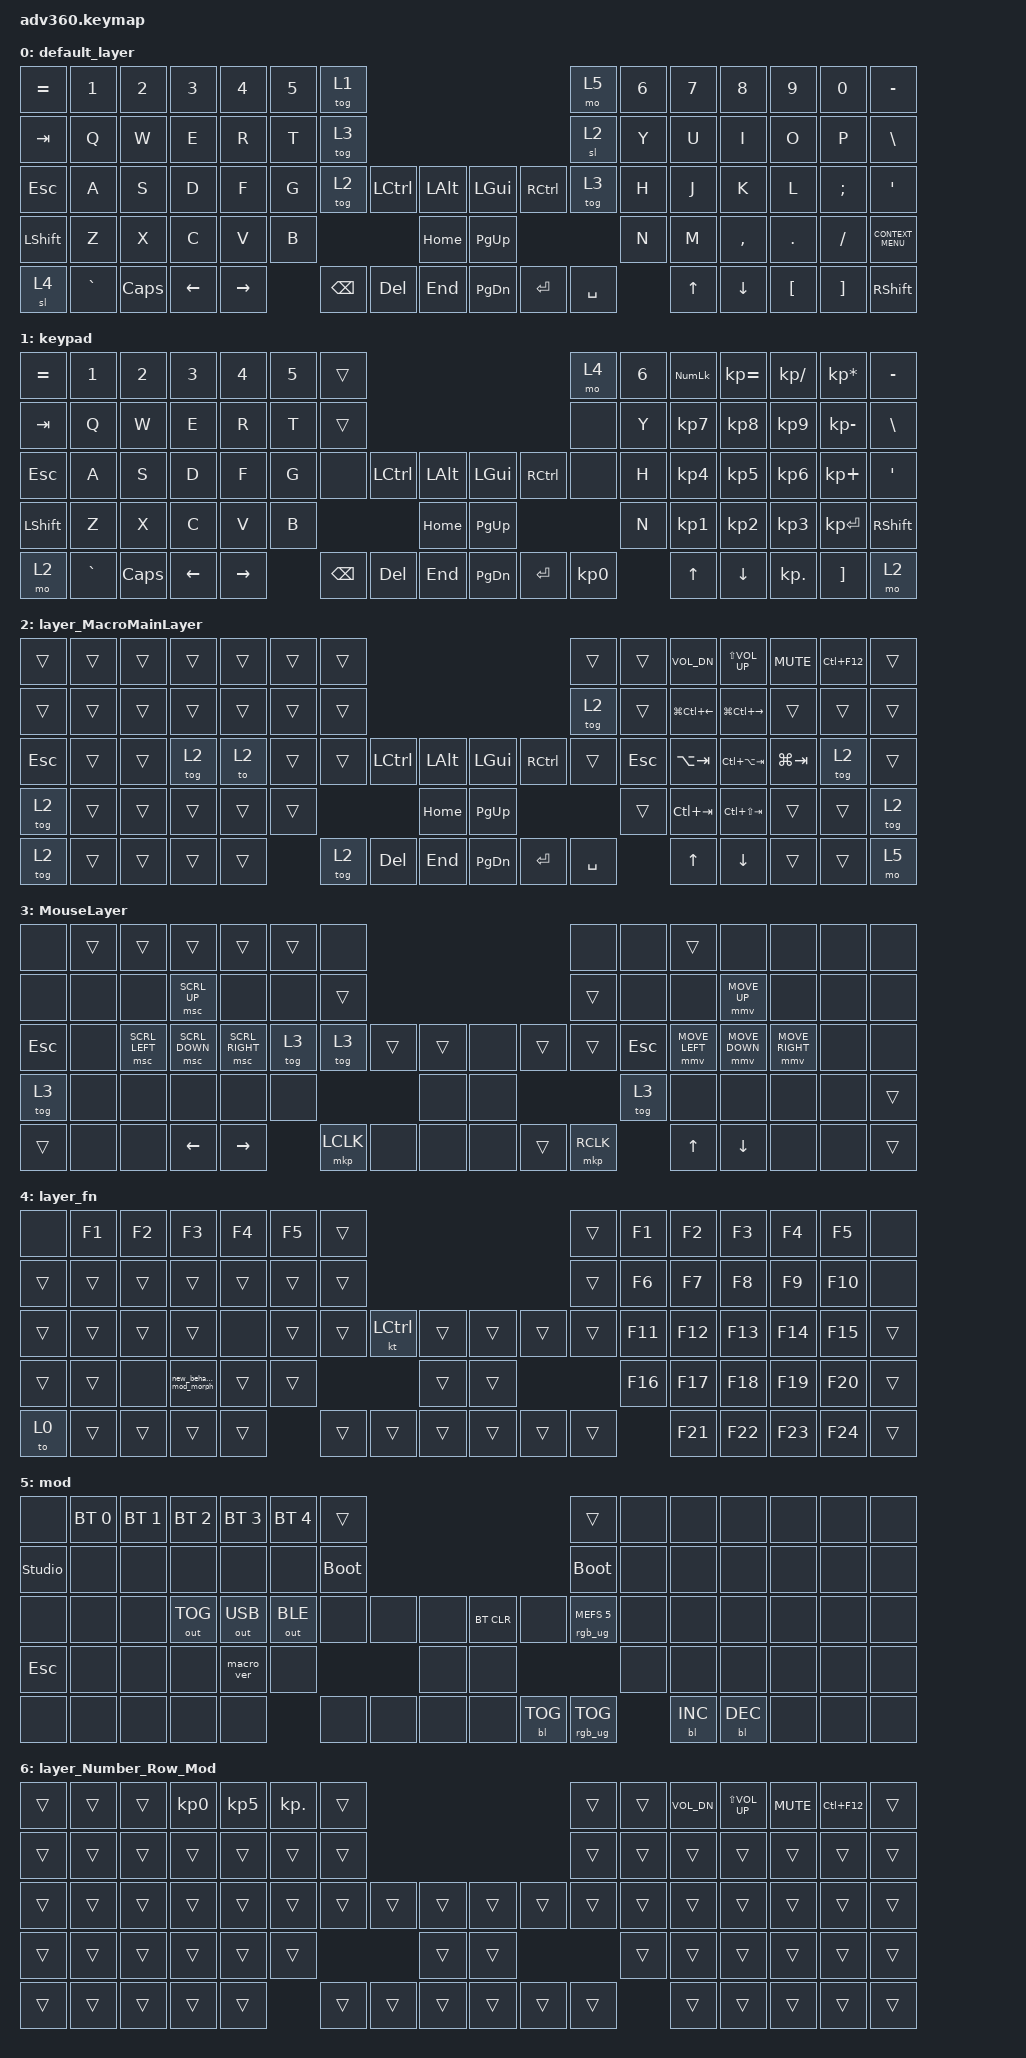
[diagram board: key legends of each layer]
#include <dt-bindings/zmk/stp.h>
#include <behaviors.dtsi>
#include <dt-bindings/zmk/backlight.h>
#include <dt-bindings/zmk/bt.h>
#include <dt-bindings/zmk/keys.h>
#include <dt-bindings/zmk/outputs.h>
#include <dt-bindings/zmk/pointing.h>
#include <dt-bindings/zmk/rgb.h>

/ {
    behaviors {
        #include "macros.dtsi"
      #include "version.dtsi"

        hm: homerow_mods {
            compatible = "zmk,behavior-hold-tap";
            label = "HOMEROW_MODS";
            #binding-cells = <2>;
            tapping-term-ms = <200>;
            quick_tap_ms = <175>;
            flavor = "tap-preferred";
            bindings = <&kp>, <&kp>;
        };

        new_behavior_mod_morph: new_behavior_mod_morph {
            compatible = "zmk,behavior-mod-morph";
            label = "NEW_BEHAVIOR_MOD_MORPH";
            bindings = <&trans>, <&new_macro>;

            #binding-cells = <0>;
            mods = <(MOD_RSFT)>;
        };

        Mo_Mor_trans_Layer2: Mo_Mor_trans_Layer2 {
            compatible = "zmk,behavior-mod-morph";
            label = "MO_MOR_TRANS_LAYER2";
            bindings = <&trans>, <&tog 1>;

            #binding-cells = <0>;
            mods = <(MOD_LSFT|MOD_RSFT)>;
        };

        Mo_Mor_bkspc_Layer2: Mo_Mor_bkspc_Layer2 {
            compatible = "zmk,behavior-mod-morph";
            label = "MO_MOR_BKSPC_LAYER2";
            bindings = <&kp BACKSPACE>, <&tog 1>;

            #binding-cells = <0>;
            mods = <(MOD_LSFT|MOD_RSFT)>;
        };
    };

    combos {
        compatible = "zmk,combos";

        control__a_sw {
            bindings = <&tog 6>;
            key-positions = <2 3>;
            layers = <0 7 1 6>;
        };

        sd_toMacro {
            bindings = <&sl 2>;
            key-positions = <32 41>;
            layers = <0 2 7 4 1>;
            slow-release;
        };

        mouseTog_combo {
            bindings = <&tog 3>;
            key-positions = <55 50>;
            layers = <0 4 1 7 2>;
        };

        fnbk_spc {
            bindings = <&trans>;
            key-positions = <60 65>;
        };
    };

    macros {
        new_macro: new_macro {
            compatible = "zmk,behavior-macro";
            label = "NEW_MACRO";
            #binding-cells = <0>;
            bindings = <&kp LEFT_SHIFT &kp M &kp Y &kp SPACE &kp M &kp A &kp C &kp R &kp O &kp EXCL>;
        };

        new_macro4: new_macro4 {
            compatible = "zmk,behavior-macro-one-param";
            #binding-cells = <1>;
            bindings =
                <&macro_param_1to1>,
                <&macro_press>,
                <&kp MACRO_PLACEHOLDER>,
                <&macro_pause_for_release>,
                <&macro_param_1to1>,
                <&macro_release>,
                <&kp MACRO_PLACEHOLDER>;

            label = "NEW_MACRO4";
        };
    };

    keymap {
        compatible = "zmk,keymap";

        default_layer {
            bindings = <
&kp EQUAL  &kp N1     &kp N2    &kp N3    &kp N4     &kp N5  &tog 1                                                        &mo 5      &kp N6  &kp N7  &kp N8     &kp N9    &kp N0    &kp MINUS
&kp TAB    &kp Q      &kp W     &kp E     &kp R      &kp T   &tog 3                                                        &sl 2      &kp Y   &kp U   &kp I      &kp O     &kp P     &kp BSLH
&kp ESC    &kp A      &kp S     &kp D     &kp F      &kp G   &tog 2         &kp LCTRL  &kp LALT      &kp LGUI   &kp RCTRL  &tog 3     &kp H   &kp J   &kp K      &kp L     &kp SEMI  &kp SQT
&kp LSHFT  &kp Z      &kp X     &kp C     &kp V      &kp B                             &kp HOME      &kp PG_UP                        &kp N   &kp M   &kp COMMA  &kp DOT   &kp FSLH  &kp K_CONTEXT_MENU
&sl 4      &kp GRAVE  &kp CAPS  &kp LEFT  &kp RIGHT          &kp BACKSPACE  &kp DEL    &kp END       &kp PG_DN  &kp ENTER  &kp SPACE          &kp UP  &kp DOWN   &kp LBKT  &kp RBKT  &kp RSHFT
            >;
        };

        keypad {
            bindings = <
&kp EQUAL  &kp N1     &kp N2    &kp N3    &kp N4     &kp N5  &trans                                                   &mo 4      &kp N6  &kp KP_NUM  &kp KP_EQUAL  &kp KP_DIVIDE  &kp KP_MULTIPLY  &kp MINUS
&kp TAB    &kp Q      &kp W     &kp E     &kp R      &kp T   &trans                                                   &none      &kp Y   &kp KP_N7   &kp KP_N8     &kp KP_N9      &kp KP_MINUS     &kp BSLH
&kp ESC    &kp A      &kp S     &kp D     &kp F      &kp G   &none     &kp LCTRL  &kp LALT      &kp LGUI   &kp RCTRL  &none      &kp H   &kp KP_N4   &kp KP_N5     &kp KP_N6      &kp KP_PLUS      &kp SQT
&kp LSHFT  &kp Z      &kp X     &kp C     &kp V      &kp B                        &kp HOME      &kp PG_UP                        &kp N   &kp KP_N1   &kp KP_N2     &kp KP_N3      &kp KP_ENTER     &kp RSHFT
&mo 2      &kp GRAVE  &kp CAPS  &kp LEFT  &kp RIGHT          &kp BSPC  &kp DEL    &kp END       &kp PG_DN  &kp ENTER  &kp KP_N0          &kp UP      &kp DOWN      &kp KP_DOT     &kp RBKT         &mo 2
            >;
        };

        layer_MacroMainLayer {
            bindings = <
&trans   &trans  &trans  &trans  &trans  &trans  &trans                                                 &trans     &trans   &kp C_VOL_DN      &kp LS(C_VOL_UP)   &kp C_MUTE   &kp LC(F12)  &trans
&trans   &trans  &trans  &trans  &trans  &trans  &trans                                                 &tog 2     &trans   &kp LG(LC(LEFT))  &kp LG(LC(RIGHT))  &trans       &trans       &trans
&kp ESC  &trans  &trans  &tog 2  &to 2   &trans  &trans  &kp LCTRL  &kp LALT      &kp LGUI   &kp RCTRL  &trans     &kp ESC  &kp LA(TAB)       &kp LC(LA(TAB))    &kp LG(TAB)  &tog 2       &trans
&tog 2   &trans  &trans  &trans  &trans  &trans                     &kp HOME      &kp PG_UP                        &trans   &kp LC(TAB)       &kp LC(LS(TAB))    &trans       &trans       &tog 2
&tog 2   &trans  &trans  &trans  &trans          &tog 2  &kp DEL    &kp END       &kp PG_DN  &kp ENTER  &kp SPACE           &kp UP            &kp DOWN           &trans       &trans       &mo 5
            >;
        };

        MouseLayer {
            bindings = <
&none    &trans  &trans          &trans          &trans           &trans  &none                                         &none      &none    &trans          &none           &none            &none  &none
&none    &none   &none           &msc SCRL_UP    &none            &none   &trans                                        &trans     &none    &none           &mmv MOVE_UP    &none            &none  &none
&kp ESC  &none   &msc SCRL_LEFT  &msc SCRL_DOWN  &msc SCRL_RIGHT  &tog 3  &tog 3     &trans  &trans      &none  &trans  &trans     &kp ESC  &mmv MOVE_LEFT  &mmv MOVE_DOWN  &mmv MOVE_RIGHT  &none  &none
&tog 3   &none   &none           &none           &none            &none                      &none       &none                     &tog 3   &none           &none           &none            &none  &trans
&trans   &none   &none           &kp LEFT        &kp RIGHT                &mkp LCLK  &none   &none       &none  &trans  &mkp RCLK           &kp UP          &kp DOWN        &none            &none  &trans
            >;
        };

        layer_fn {
            bindings = <
&none   &kp F1  &kp F2  &kp F3                   &kp F4  &kp F5  &trans                                         &trans  &kp F1   &kp F2   &kp F3   &kp F4   &kp F5   &none
&trans  &trans  &trans  &trans                   &trans  &trans  &trans                                         &trans  &kp F6   &kp F7   &kp F8   &kp F9   &kp F10  &none
&trans  &trans  &trans  &trans                   &none   &trans  &trans  &kt LCTRL  &trans      &trans  &trans  &trans  &kp F11  &kp F12  &kp F13  &kp F14  &kp F15  &trans
&trans  &trans  &none   &new_behavior_mod_morph  &trans  &trans                     &trans      &trans                  &kp F16  &kp F17  &kp F18  &kp F19  &kp F20  &trans
&to 0   &trans  &trans  &trans                   &trans          &trans  &trans     &trans      &trans  &trans  &trans           &kp F21  &kp F22  &kp F23  &kp F24  &trans
            >;
        };

        mod {
            bindings = <
&none           &bt BT_SEL 0  &bt BT_SEL 1  &bt BT_SEL 2  &bt BT_SEL 3  &bt BT_SEL 4  &trans                                                 &trans                  &none  &none       &none       &none  &none  &none
&studio_unlock  &none         &none         &none         &none         &none         &bootloader                                            &bootloader             &none  &none       &none       &none  &none  &none
&none           &none         &none         &out OUT_TOG  &out OUT_USB  &out OUT_BLE  &none        &none  &none      &bt BT_CLR  &none       &rgb_ug RGB_MEFS_CMD 5  &none  &none       &none       &none  &none  &none
&kp ESC         &none         &none         &none         &macro_ver    &none                             &none      &none                                           &none  &none       &none       &none  &none  &none
&none           &none         &none         &none         &none                       &none        &none  &none      &none       &bl BL_TOG  &rgb_ug RGB_TOG                &bl BL_INC  &bl BL_DEC  &none  &none  &none
            >;
        };

        layer_Number_Row_Mod {
            bindings = <
&trans  &trans  &trans  &kp KP_N0  &kp KP_N5  &kp KP_DOT  &trans                                      &trans  &trans  &kp C_VOL_DN  &kp LS(C_VOL_UP)  &kp C_MUTE  &kp LC(F12)  &trans
&trans  &trans  &trans  &trans     &trans     &trans      &trans                                      &trans  &trans  &trans        &trans            &trans      &trans       &trans
&trans  &trans  &trans  &trans     &trans     &trans      &trans  &trans  &trans      &trans  &trans  &trans  &trans  &trans        &trans            &trans      &trans       &trans
&trans  &trans  &trans  &trans     &trans     &trans                      &trans      &trans                  &trans  &trans        &trans            &trans      &trans       &trans
&trans  &trans  &trans  &trans     &trans                 &trans  &trans  &trans      &trans  &trans  &trans          &trans        &trans            &trans      &trans       &trans
            >;
        };

        extra1 {
            display-name = "Red";
            status = "reserved";
        };

        extra2 {
            display-name = "Purple";
            status = "reserved";
        };

        extra3 {
            display-name = "Cyan";
            status = "reserved";
        };

        extra4 {
            display-name = "Yellow";
            status = "reserved";
        };
    };
};
